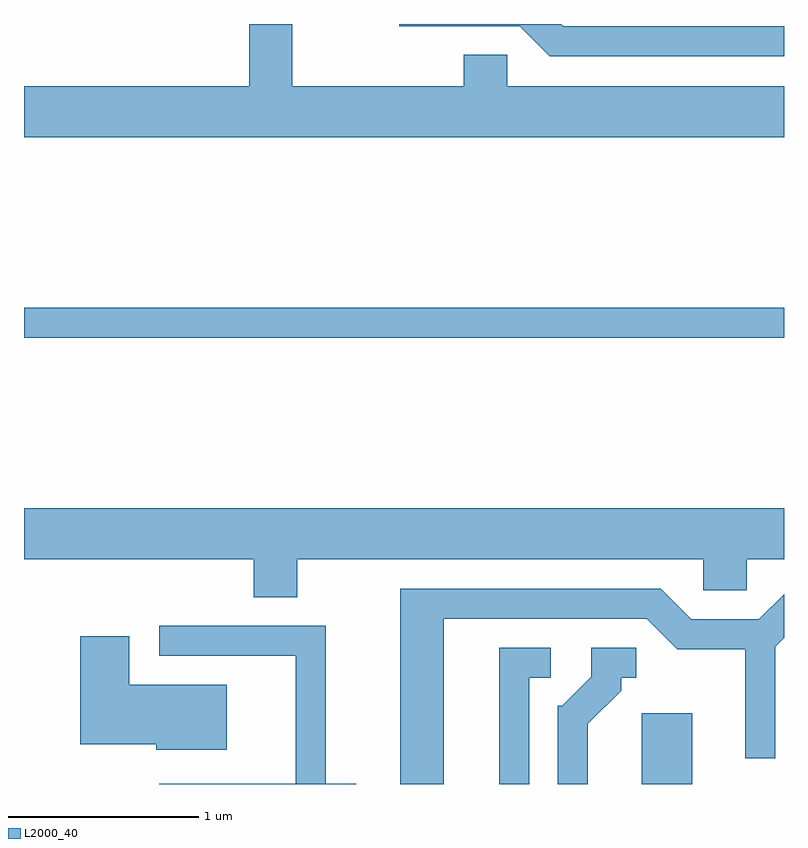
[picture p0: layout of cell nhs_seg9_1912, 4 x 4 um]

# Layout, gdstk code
import gdstk
lib = gdstk.Library(unit=1e-6, precision=1e-09)
def R(c, l, rs):  # rectangles x0, y0, x1, y1
    for r in rs: c.add(gdstk.rectangle(r[:2], r[2:], *l))
def P(c, l, *ps):  # polygons
    for p in ps: c.add(gdstk.Polygon(p, *l))
L2000_40 = (2000, 40)

nhs_seg9_1912 = lib.new_cell('nhs_seg9_1912')
R(nhs_seg9_1912, L2000_40, [(244.861,1968.432,245.129,1968.804), (241.611,1970.781,245.611,1970.939)])
P(nhs_seg9_1912, L2000_40, [(245.611,1972.104),(244.154,1972.104),(244.154,1972.269),(243.926,1972.269),(243.926,1972.104),(243.024,1972.104),(243.024,1972.432),(242.796,1972.432),(242.796,1972.104),(241.611,1972.104),(241.611,1971.836),(245.611,1971.836)],
  [(245.611,1972.419),(244.452,1972.419),(244.439,1972.432),(243.586,1972.432),(243.586,1972.421),(244.219,1972.421),(244.379,1972.261),(245.611,1972.261)],
  [(243.049,1969.616),(245.186,1969.616),(245.186,1969.451),(245.414,1969.451),(245.414,1969.616),(245.611,1969.616),(245.611,1969.884),(241.611,1969.884),(241.611,1969.616),(242.821,1969.616),(242.821,1969.416),(243.049,1969.416)],
  [(243.819,1969.301),(244.889,1969.301),(245.049,1969.141),(245.406,1969.141),(245.406,1968.568),(245.564,1968.568),(245.564,1969.154),(245.611,1969.201),(245.611,1969.431),(245.479,1969.299),(245.122,1969.299),(244.962,1969.459),(243.591,1969.459),(243.591,1968.432),(243.819,1968.432)],
  [(243.359,1968.434),(243.199,1968.434),(243.199,1969.264),(242.323,1969.264),(242.323,1969.106),(243.041,1969.106),(243.041,1968.434),(242.323,1968.434),(242.323,1968.432),(243.359,1968.432)],
  [(242.679,1968.954),(242.164,1968.954),(242.164,1969.209),(241.906,1969.209),(241.906,1968.641),(242.306,1968.641),(242.306,1968.611),(242.679,1968.611)],
  [(244.269,1968.991),(244.383,1968.991),(244.383,1969.149),(244.111,1969.149),(244.111,1968.432),(244.269,1968.432)],
  [(244.579,1968.749),(244.754,1968.924),(244.754,1968.991),(244.833,1968.991),(244.833,1969.149),(244.596,1969.149),(244.596,1968.997),(244.444,1968.844),(244.421,1968.844),(244.421,1968.432),(244.579,1968.432)])

lib.write_gds('nhs_seg9_1912.gds')
